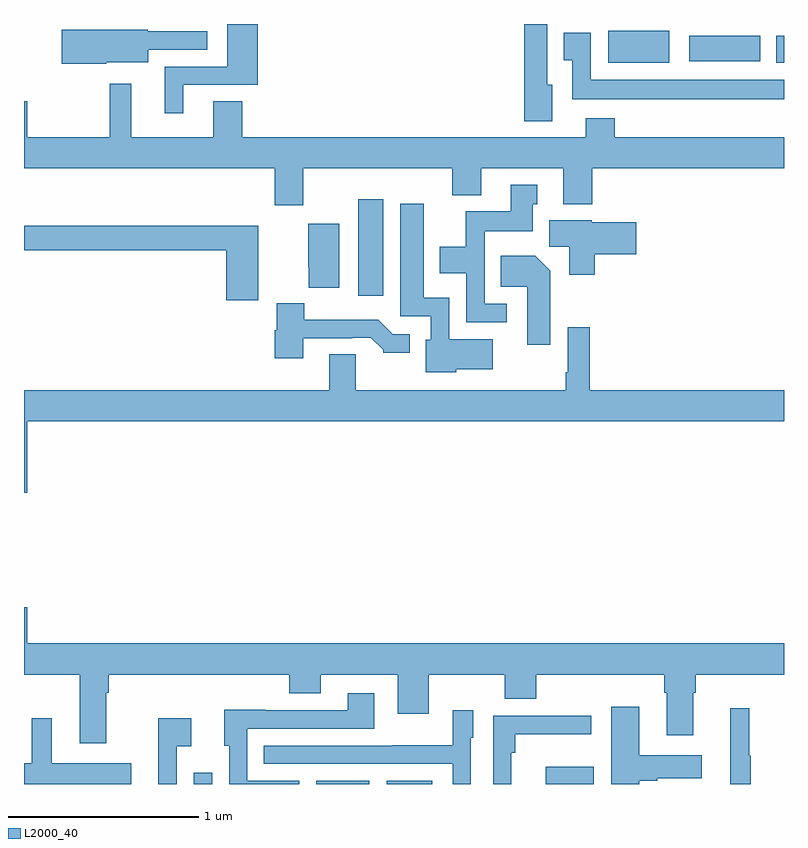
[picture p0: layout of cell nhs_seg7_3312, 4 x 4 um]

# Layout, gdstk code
import gdstk
lib = gdstk.Library(unit=1e-6, precision=1e-09)
def R(c, l, rs):  # rectangles x0, y0, x1, y1
    for r in rs: c.add(gdstk.rectangle(r[:2], r[2:], *l))
def P(c, l, *ps):  # polygons
    for p in ps: c.add(gdstk.Polygon(p, *l))
L2000_40 = (2000, 40)

nhs_seg7_3312 = lib.new_cell('nhs_seg7_3312')
R(nhs_seg7_3312, L2000_40, [(321.894,1040,321.99,1040.059), (322.538,1040,322.816,1040.017), (322.91,1040,323.149,1040.017), (323.747,1040,323.998,1040.092), (322.76,1042.569,322.891,1043.077), (324.074,1043.795,324.397,1043.965), (324.959,1043.795,325,1043.938), (324.501,1043.804,324.874,1043.938)])
P(nhs_seg7_3312, L2000_40, [(321.838,1043.679),(322.229,1043.679),(322.229,1044),(322.07,1044),(322.07,1043.775),(321.74,1043.775),(321.74,1043.529),(321.838,1043.529)],
  [(323.779,1043.679),(323.755,1043.679),(323.755,1044),(323.633,1044),(323.633,1043.489),(323.779,1043.489)],
  [(321.432,1043.798),(321.655,1043.798),(321.655,1043.865),(321.964,1043.865),(321.964,1043.961),(321.651,1043.961),(321.651,1043.969),(321.198,1043.969),(321.198,1043.791),(321.432,1043.791)],
  [(325,1043.707),(323.982,1043.707),(323.982,1043.953),(323.84,1043.953),(323.84,1043.809),(323.885,1043.809),(323.885,1043.603),(325,1043.603)],
  [(322.471,1043.24),(323.255,1043.24),(323.255,1043.099),(323.407,1043.099),(323.407,1043.24),(323.837,1043.24),(323.837,1043.051),(323.99,1043.051),(323.99,1043.24),(325,1043.24),(325,1043.404),(324.11,1043.404),(324.11,1043.503),(323.957,1043.503),(323.957,1043.404),(322.148,1043.404),(322.148,1043.594),(321.995,1043.594),(321.995,1043.404),(321.565,1043.404),(321.565,1043.686),(321.451,1043.686),(321.451,1043.404),(321.016,1043.404),(321.016,1043.593),(321,1043.593),(321,1043.24),(322.319,1043.24),(322.319,1043.046),(322.471,1043.046)],
  [(323.542,1042.527),(323.424,1042.527),(323.424,1042.91),(323.677,1042.91),(323.677,1043.052),(323.701,1043.052),(323.701,1043.155),(323.561,1043.155),(323.561,1043.014),(323.326,1043.014),(323.326,1042.828),(323.189,1042.828),(323.189,1042.688),(323.328,1042.688),(323.328,1042.431),(323.542,1042.431)],
  [(323.274,1042.184),(323.467,1042.184),(323.467,1042.342),(323.238,1042.342),(323.238,1042.558),(323.104,1042.558),(323.104,1043.053),(322.979,1043.053),(322.979,1042.461),(323.142,1042.461),(323.142,1042.338),(323.114,1042.338),(323.114,1042.166),(323.274,1042.166)],
  [(324.005,1042.787),(324.223,1042.787),(324.223,1042.957),(323.988,1042.957),(323.988,1042.966),(323.765,1042.966),(323.765,1042.828),(323.87,1042.828),(323.87,1042.68),(324.005,1042.68)],
  [(322.66,1042.948),(322.496,1042.948),(322.496,1042.72),(322.498,1042.72),(322.498,1042.613),(322.66,1042.613)],
  [(322.234,1042.939),(321,1042.939),(321,1042.81),(322.064,1042.81),(322.064,1042.545),(322.234,1042.545)],
  [(323.77,1042.702),(323.692,1042.78),(323.509,1042.78),(323.509,1042.616),(323.648,1042.616),(323.648,1042.311),(323.77,1042.311)],
  [(322.471,1042.347),(322.727,1042.347),(322.727,1042.35),(322.826,1042.35),(322.89,1042.286),(322.89,1042.271),(323.029,1042.271),(323.029,1042.368),(322.941,1042.368),(322.865,1042.444),(322.474,1042.444),(322.474,1042.531),(322.331,1042.531),(322.331,1042.389),(322.319,1042.389),(322.319,1042.242),(322.471,1042.242)],
  [(321.016,1041.908),(325,1041.908),(325,1042.072),(323.978,1042.072),(323.978,1042.405),(323.862,1042.405),(323.862,1042.168),(323.85,1042.168),(323.85,1042.072),(322.747,1042.072),(322.747,1042.262),(322.607,1042.262),(322.607,1042.072),(321,1042.072),(321,1041.534),(321.016,1041.534)],
  [(321.433,1040.48),(321.446,1040.48),(321.446,1040.576),(322.397,1040.576),(322.397,1040.477),(322.561,1040.477),(322.561,1040.576),(322.967,1040.576),(322.967,1040.37),(323.131,1040.37),(323.131,1040.576),(323.531,1040.576),(323.531,1040.448),(323.695,1040.448),(323.695,1040.576),(324.371,1040.576),(324.371,1040.48),(324.383,1040.48),(324.383,1040.256),(324.523,1040.256),(324.523,1040.48),(324.536,1040.48),(324.536,1040.576),(325,1040.576),(325,1040.74),(321.016,1040.74),(321.016,1040.929),(321,1040.929),(321,1040.576),(321.293,1040.576),(321.293,1040.214),(321.433,1040.214)],
  [(322.449,1040.016),(322.176,1040.016),(322.176,1040.292),(322.843,1040.292),(322.843,1040.478),(322.703,1040.478),(322.703,1040.388),(322.273,1040.388),(322.273,1040.39),(322.055,1040.39),(322.055,1040.202),(322.08,1040.202),(322.08,1040),(322.449,1040)],
  [(324.238,1040.018),(324.334,1040.018),(324.334,1040.03),(324.568,1040.03),(324.568,1040.152),(324.238,1040.152),(324.238,1040.407),(324.092,1040.407),(324.092,1040),(324.238,1040)],
  [(324.826,1040.148),(324.818,1040.148),(324.818,1040.398),(324.716,1040.398),(324.716,1040),(324.826,1040)],
  [(323.352,1040.244),(323.365,1040.244),(323.365,1040.389),(323.256,1040.389),(323.256,1040.203),(322.939,1040.203),(322.939,1040.202),(322.261,1040.202),(322.261,1040.106),(323.256,1040.106),(323.256,1040),(323.352,1040)],
  [(323.565,1040.165),(323.585,1040.165),(323.585,1040.261),(323.986,1040.261),(323.986,1040.358),(323.469,1040.358),(323.469,1040),(323.565,1040)],
  [(321.565,1040.11),(321.145,1040.11),(321.145,1040.347),(321.041,1040.347),(321.041,1040.108),(321,1040.108),(321,1040),(321.565,1040)],
  [(321.804,1040.198),(321.88,1040.198),(321.88,1040.347),(321.707,1040.347),(321.707,1040),(321.804,1040)])

lib.write_gds('nhs_seg7_3312.gds')
